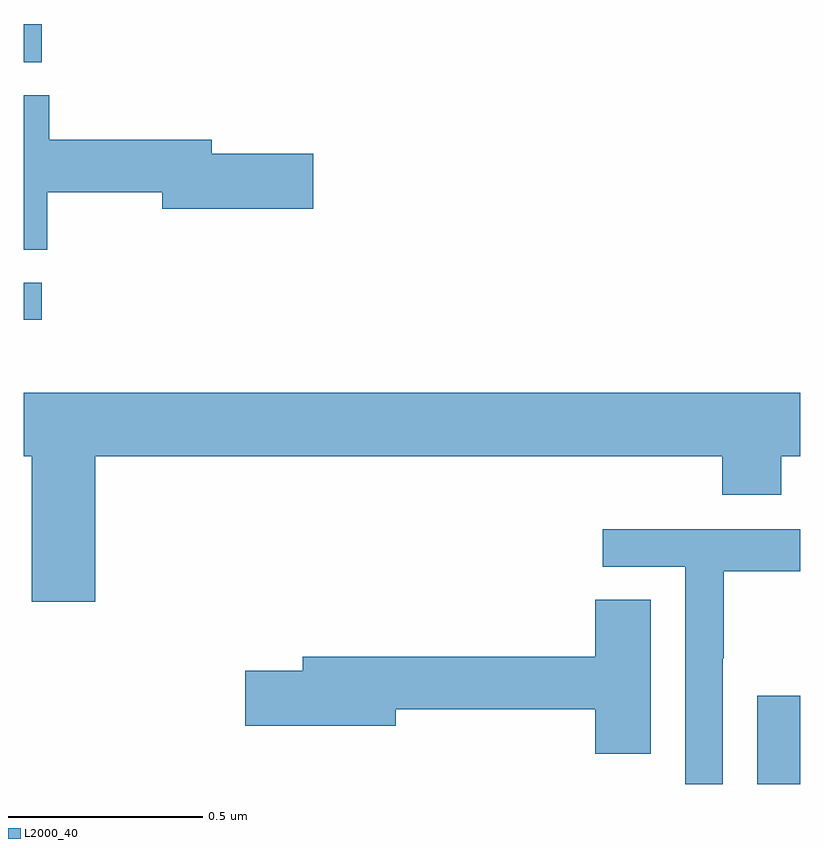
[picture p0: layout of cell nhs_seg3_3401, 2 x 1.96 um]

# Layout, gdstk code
import gdstk
lib = gdstk.Library(unit=1e-6, precision=1e-09)
def R(c, l, rs):  # rectangles x0, y0, x1, y1
    for r in rs: c.add(gdstk.rectangle(r[:2], r[2:], *l))
def P(c, l, *ps):  # polygons
    for p in ps: c.add(gdstk.Polygon(p, *l))
L2000_40 = (2000, 40)

nhs_seg3_3401 = lib.new_cell('nhs_seg3_3401')
R(nhs_seg3_3401, L2000_40, [(154.889,705.4,155,705.627), (153,706.596,153.046,706.692), (153,707.259,153.046,707.358)])
P(nhs_seg3_3401, L2000_40, [(153.06,706.924),(153.356,706.924),(153.356,706.882),(153.745,706.882),(153.745,707.024),(153.484,707.024),(153.484,707.06),(153.065,707.06),(153.065,707.174),(153,707.174),(153,706.777),(153.06,706.777)],
  [(153.184,706.244),(154.799,706.244),(154.799,706.145),(154.951,706.145),(154.951,706.244),(155,706.244),(155,706.408),(153,706.408),(153,706.244),(153.02,706.244),(153.02,705.87),(153.184,705.87)],
  [(154.8,705.724),(154.803,705.724),(154.803,705.948),(155,705.948),(155,706.056),(154.491,706.056),(154.491,705.96),(154.704,705.96),(154.704,705.4),(154.8,705.4)],
  [(154.615,705.875),(154.472,705.875),(154.472,705.728),(153.719,705.728),(153.719,705.692),(153.57,705.692),(153.57,705.55),(153.958,705.55),(153.958,705.592),(154.472,705.592),(154.472,705.478),(154.615,705.478)])

lib.write_gds('nhs_seg3_3401.gds')
